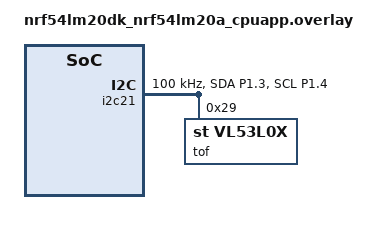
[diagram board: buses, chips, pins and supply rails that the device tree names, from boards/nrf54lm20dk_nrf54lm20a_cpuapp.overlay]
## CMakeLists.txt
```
cmake_minimum_required(VERSION 3.20.0)

find_package(Zephyr REQUIRED HINTS $ENV{ZEPHYR_BASE})
project(imu_read)

target_sources(app PRIVATE src/main.c src/imu.c src/policy.c src/tof.c src/attitude.c)
```

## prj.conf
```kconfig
CONFIG_I2C=y

# Use the M33's hardware FPU. 
# Hardware FP drops the policy inferences to ~tens of us.
CONFIG_FPU=y

# printf() with %f needs floating-point formatting pulled into the C library.
# Without this, %f prints nothing/garbage on picolibc.
CONFIG_CBPRINTF_FP_SUPPORT=y

CONFIG_SENSOR=y
CONFIG_VL53L0X=y
```

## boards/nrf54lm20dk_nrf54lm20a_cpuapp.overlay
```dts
/* Same bus as i2c_scan: i2c21 on P1.03 (SDA) / P1.04 (SCL), 100 kHz.
 * See firmware/bringup/i2c_scan for the line-by-line devicetree walkthrough.
 */

&pinctrl {
	i2c21_default: i2c21_default {
		group1 {
			psels = <NRF_PSEL(TWIM_SDA, 1, 3)>,
				<NRF_PSEL(TWIM_SCL, 1, 4)>;
			bias-pull-up;
		};
	};

	i2c21_sleep: i2c21_sleep {
		group1 {
			psels = <NRF_PSEL(TWIM_SDA, 1, 3)>,
				<NRF_PSEL(TWIM_SCL, 1, 4)>;
			low-power-enable;
		};
	};
};

&i2c21 {
	status = "okay";
	clock-frequency = <I2C_BITRATE_STANDARD>;
	pinctrl-0 = <&i2c21_default>;
	pinctrl-1 = <&i2c21_sleep>;
	pinctrl-names = "default", "sleep";

	tof: vl53l0x@29 {
		compatible = "st,vl53l0x";
		reg = <0x29>;
		/* xshut-gpios = <&gpio1 10 GPIO_ACTIVE_LOW>;  // only if XSHUT wired */
	};
};
```

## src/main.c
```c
#include <zephyr/kernel.h>
#include <zephyr/device.h>
#include <stdio.h>
#include <math.h>

#include "policy.h"
#include "imu.h"
#include "tof.h"
#include "attitude.h"

#define I2C_NODE DT_NODELABEL(i2c21)

// Fixed control-loop rate. 200Hz -> 5ms period
// Matching the sensor's SMPLRT_DIV=4 output rate set in imu_init.
#define CONTROL_HZ 200
#define CONTROL_PERIOD K_MSEC(1000 / CONTROL_HZ)

// Timing stats window: 400 ticks = 2s at 200Hz.
#define WINDOW_TICKS 400

#define TARGET_HEIGHT_M 0.5f   // sim hover target (env.target_height)
#define DEG2RAD (3.14159265f / 180.0f)

// Assemble the 6-element observation the policy expects, in the SAME units as the
// training sim (env._get_obs):
//   obs[0] height (m)         obs[1] vz (m/s)
//   obs[2] roll (rad)         obs[3] pitch (rad)
//   obs[4] roll_rate (rad/s)  obs[5] pitch_rate (rad/s)
static void build_obs(const struct attitude *att, const struct tof_sample *tof,
		      const float gyro_dps[3], float obs[6])
{

	if (tof_sample_fresh(tof)) {
		obs[0] = tof->height;
		obs[1] = tof->vz;
	} else {
		obs[0] = TARGET_HEIGHT_M;
		obs[1] = 0.0f;
	}

	obs[2] = att->roll;
	obs[3] = att->pitch;

	// Caliberated gyro rates
	obs[4] = gyro_dps[0] * DEG2RAD;
	obs[5] = gyro_dps[1] * DEG2RAD;
}


// Periodic pacing timer for the control loop. No expiry/stop callbacks —
// loop just waits on its ticks via k_timer_status_sync().
K_TIMER_DEFINE(loop_timer, NULL, NULL);

int main(void)
{
	const struct device *const i2c = DEVICE_DT_GET(I2C_NODE);

	printf("\n=== imu_read: MPU-6050 on %s ===\n", i2c->name);

	if (!device_is_ready(i2c)) {
		printf("ERROR: %s not ready\n", i2c->name);
		return -ENODEV;
	}

	if (imu_init(i2c) != 0) {
		printf("ERROR: sensor init failed\n");
		return -EIO;
	}

	// Verify the flashed policy reproduces its reference before the loop uses it.
	float selfcheck_error;
	if (policy_self_check(1e-3f, &selfcheck_error) == 0) {
		printf("policy self-check PASS (max err %.2e)\n", (double)selfcheck_error);
	} else {
		printf("policy self-check FAIL (err %.2e): output != reference; "
		       "policy_weights.h corrupt or build broken\n", (double)selfcheck_error);
	}

	printf("T+/T- = ToF on/off, rd min/mean/max, o=overruns | H = height, V = vz filt/raw, a = age\n");

	// Measure sensor bias before flying. Board must sit still and level.
	printf("calibrating -- hold still & level...\n");
	imu_calibrate(i2c);

	// Start the pacing timer: first tick one period from now, then every period.
	k_timer_start(&loop_timer, CONTROL_PERIOD, CONTROL_PERIOD);

	uint32_t tick = 0;

	// Starts true so the first stale sample prints a warning
	bool tof_was_ok = true;

	// Timing stats window state.
	uint32_t win_rd_min = UINT32_MAX, win_rd_max = 0, win_rd_sum = 0;
	uint32_t win_inf_min = UINT32_MAX, win_inf_max = 0, win_inf_sum = 0;
	uint32_t win_ticks = 0;
	uint32_t overrun_total = 0;
	bool win_tof_on = true;

	while (1) {
		//buffer for accelometer, gyroscope and temperature datas
		struct imu_sample imu;

		uint32_t start = k_cycle_get_32();
		int rc = imu_read(i2c, &imu);
		uint32_t end = k_cycle_get_32();

		//Get the read duration for later engineering choices. (total time = 5ms)
		uint32_t read_time = k_cyc_to_us_floor32(end - start);

		// Snapshot the latest ToF sample (wont block main loop)
		struct tof_sample tof;
		tof_get_latest(&tof);

		// Run the complementary filter every tick
		struct attitude att;
		attitude_update(imu.accel_g, imu.gyro_dps, 1.0f / CONTROL_HZ, &att);

		// edge detection for when tof sample is STALE or RECOVERED
		// print the message only when the state changes 
		bool tof_ok = tof_sample_fresh(&tof);
		tof_was_ok = tof_ok;   // transition print silenced while testing filters

		// assemble the obs, run the policy, time the inference.
		float obs[6], action[4];
		build_obs(&att, &tof, imu.gyro_dps, obs);

		uint32_t infer_start = k_cycle_get_32();
		policy_forward(obs, action);
		uint32_t infer_time = k_cyc_to_us_floor32(k_cycle_get_32() - infer_start);

		// Timing stats accumulated on EVERY tick
		if (read_time < win_rd_min) win_rd_min = read_time;
		if (read_time > win_rd_max) win_rd_max = read_time;
		win_rd_sum += read_time;
		if (infer_time < win_inf_min) win_inf_min = infer_time;
		if (infer_time > win_inf_max) win_inf_max = infer_time;
		win_inf_sum += infer_time;
		win_ticks++;

		// Every WINDOW_TICKS: report, then flip the ToF on/off. 
		if (win_ticks >= WINDOW_TICKS) {
			// Short on purpose: a long line blocks past the 5ms tick and would
			// cause the very overruns this is counting.
			printf("T%c %u/%u/%u o%u\n",
			       win_tof_on ? '+' : '-',
			       win_rd_min, win_rd_sum / win_ticks, win_rd_max,
			       overrun_total);

			// A/B toggle off: ToF stays on so age reflects its real update rate.

			win_rd_min = UINT32_MAX; win_rd_max = 0; win_rd_sum = 0;
			win_inf_min = UINT32_MAX; win_inf_max = 0; win_inf_sum = 0;
			win_ticks = 0;
		}

		//print some debug info every 100 ticks (0.5s) alternating between attitude and ToF
		if (tick % 100 == 0) {
			if (rc != 0) {
				printf("t=%u read failed\n", tick);
			} else {
				printf("H %.3f V %+.2f/%+.2f a%d\n",
				       (double)tof.height,
				       (double)tof.vz, (double)tof.vz_raw,
				       (int)(k_uptime_get() - tof.timestamp));
			}
		}

		tick++;

		// Block until the next timer tick

		//total elapsed ticks in this thread (should be only 1)
		uint32_t elapsed = k_timer_status_sync(&loop_timer);

		// if more than 1 tick has passed it means the work is too long for 5ms
		if (elapsed > 1) {
			uint32_t missed = elapsed - 1;
			overrun_total += missed;
			printf("OVERRUN at t=%u: missed %u tick(s)\n", tick, missed);
		}
	}

	return 0;
}
```

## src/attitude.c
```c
#include <math.h>
#include <stdbool.h>

#include "attitude.h"

#define DEG2RAD (3.14159265f / 180.0f)

#define ATTITUDE_ALPHA 0.98f

static float roll_state;
static float pitch_state;
static bool initialized;

void attitude_update(const float accel_g[3], const float gyro_dps[3],
		     float dt, struct attitude *out)
{
	float ax = accel_g[0];
	float ay = accel_g[1];
	float az = accel_g[2];

	// accel branch, calculate roll/pitch from the gravity vector.
	float roll_accel = atan2f(ay, az);
	float pitch_accel = atan2f(-ax, sqrtf(ay * ay + az * az));

	if (!initialized) {
		roll_state = roll_accel;
		pitch_state = pitch_accel;
		initialized = true;
	} else {
		// Gyro branch, integrate the angular rate over timeto get the angle.
		float roll_gyro = gyro_dps[0] * DEG2RAD;
		float pitch_gyro = gyro_dps[1] * DEG2RAD;

		float alpha = ATTITUDE_ALPHA;

		roll_state = alpha * (roll_state + roll_gyro * dt) + (1.0f - alpha) * roll_accel;
		pitch_state = alpha * (pitch_state + pitch_gyro * dt) + (1.0f - alpha) * pitch_accel;
	}

	out->roll = roll_state;
	out->pitch = pitch_state;
	out->roll_accel = roll_accel;
	out->pitch_accel = pitch_accel;
}
```

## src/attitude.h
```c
// Complementary filter for roll/pitch.

#ifndef ATTITUDE_H
#define ATTITUDE_H

struct attitude {
	//filtered, rad
	float roll;       
	float pitch;        
	//raw accel branch, rad
	float roll_accel;  
	float pitch_accel;  
};

// Update the attitude estimate from the latest accel/gyro sample. 
void attitude_update(const float accel_g[3], const float gyro_dps[3],
		     float dt, struct attitude *out);

#endif  // ATTITUDE_H
```

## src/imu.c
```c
#include <zephyr/kernel.h>
#include <zephyr/device.h>
#include <zephyr/drivers/i2c.h>
#include <stdio.h>

#include "imu.h"

#define MPU6050_ADDR 0x68

// register map
#define REG_SMPLRT_DIV 0x19   // sample rate = base_rate / (1 + SMPLRT_DIV)
#define REG_CONFIG 0x1A   // bits2:0 DLPF_CFG (digital low-pass filter)
#define REG_PWR_MGMT_1 0x6B   // bit6 SLEEP; bits2:0 CLKSEL (clock source)
#define REG_GYRO_CONFIG 0x1B   // bits4:3 select gyro full-scale range
#define REG_ACCEL_CONFIG 0x1C   // bits4:3 select accel full-scale range
#define REG_ACCEL_XOUT_H 0x3B   // first of 14 big-endian bytes:
                               // AX AY AZ TEMP GX GY GZ (2 bytes each)

//Full-scale select values
#define GYRO_FS_250DPS  (0 << 3)   // +/-250 deg/s
#define ACCEL_FS_2G     (0 << 3)   // +/-2 g

/* Scale factors for the ranges above (LSB per unit), from the datasheet:
     accel +/-2 g -> 16384 LSB/g
     gyro +/-250 -> 131.0 LSB/(deg/s)
   Temperature: degC = raw/340 + 36.53 */
#define ACCEL_LSB_PER_G 16384.0f
#define GYRO_LSB_PER_DPS 131.0f

// Per-sensor bias, measured at boot by calibrate(). Zero until then, so the
// calibration reads see raw values. gyro_bias in dps, accel_offset in g.
static float gyro_bias[3] = {0.0f, 0.0f, 0.0f};
static float accel_offset[3] = {0.0f, 0.0f, 0.0f};

// I/O helpers (return 0 on success)
static int reg_write(const struct device *dev, uint8_t reg, uint8_t val)
{
	return i2c_reg_write_byte(dev, MPU6050_ADDR, reg, val);
}

static int burst_read(const struct device *dev, uint8_t start,
		      uint8_t *buf, uint32_t len)
{
	return i2c_burst_read(dev, MPU6050_ADDR, start, buf, len);
}

/* Combine a big-endian (high byte first) register pair into a signed 16-bit
   value. The MPU-6050 outputs are two's-complement, MSB at the lower address. */
static int16_t be16(const uint8_t *p)
{
	return (int16_t)((p[0] << 8) | p[1]);
}

//Configure the sensor. Return 0 if every write succeeded.
int imu_init(const struct device *dev)
{
	//Wake up MPU6050 and clock it from the gyro-X PLL (CLKSEL=1), a more
	//stable timebase than the internal 8MHz oscillator (CLKSEL=0)
	int ret = reg_write(dev, REG_PWR_MGMT_1, 0x01);
	if (ret) {
		return ret;   //return non 0 on fail writes
	}

	//DLPF_CFG=3: ~44Hz low-pass anti-aliasing filter. Also drops the gyro
	//base output rate to 1kHz, which SMPLRT_DIV below divides down
	ret = reg_write(dev, REG_CONFIG, 0x03);
	if (ret) {
		return ret;
	}

	//Sample rate = 1kHz / (1 + 4) = 200Hz. Depends on DLPF being enabled above
	ret = reg_write(dev, REG_SMPLRT_DIV, 0x04);
	if (ret) {
		return ret;
	}

	//Set gyro mearsure range (FS_SEL = 00, therefore low gain)
	ret = reg_write(dev, REG_GYRO_CONFIG, GYRO_FS_250DPS);
	if (ret) {
		return ret;
	}

	//Set accelometer range as above
	ret = reg_write(dev, REG_ACCEL_CONFIG, ACCEL_FS_2G);

	//Return 0 if all ret has value 0 (succeeded writes)
	return ret;
}

//read one sample set and convert to physical units.
//write results through the out-pointer, return 0 on success.
int imu_read(const struct device *dev, struct imu_sample *out)
{
	uint8_t raw[14];
	//reading reg contents into a raw array
	int ret = burst_read(dev,REG_ACCEL_XOUT_H,raw,sizeof(raw));
	if (ret) {
		return ret;
	}

	//combine higher and lower bits into 16 bits values
	int16_t ax=be16(&raw[0]);
	int16_t ay=be16(&raw[2]);
	int16_t az=be16(&raw[4]);

	int16_t temp=be16(&raw[6]);

	int16_t gyroX=be16(&raw[8]);
	int16_t gyroY=be16(&raw[10]);
	int16_t gyroZ=be16(&raw[12]);

	// Scale to physical units, then subtract the per-sensor bias measured at boot.
	out->accel_g[0] = ax/ACCEL_LSB_PER_G - accel_offset[0];
	out->accel_g[1] = ay/ACCEL_LSB_PER_G - accel_offset[1];
	out->accel_g[2] = az/ACCEL_LSB_PER_G - accel_offset[2];

	out->gyro_dps[0] = gyroX/GYRO_LSB_PER_DPS - gyro_bias[0];
	out->gyro_dps[1] = gyroY/GYRO_LSB_PER_DPS - gyro_bias[1];
	out->gyro_dps[2] = gyroZ/GYRO_LSB_PER_DPS - gyro_bias[2];

	out->temp_c = temp/ 340.0f + 36.53f;

	return 0;
}

// Measure per-sensor bias by averaging N samples while the board is held STILL
// and LEVEL to subtract from future mearsurement
void imu_calibrate(const struct device *dev)
{
	const int samples = 200;   // ~1s at 200Hz
	float accel_sum[3] = {0.0f, 0.0f, 0.0f};
	float gyro_sum[3] = {0.0f, 0.0f, 0.0f};
	int valid = 0;

	for (int n = 0; n < samples; n++) {
		struct imu_sample s;
		if (imu_read(dev, &s) == 0) {   // biases are still 0 -> raw
			for (int i = 0; i < 3; i++) {
				accel_sum[i] += s.accel_g[i];
				gyro_sum[i] += s.gyro_dps[i];
			}
			valid++;
		}
		k_sleep(K_MSEC(5));
	}

	if (valid == 0) {
		printf("calibrate: no valid samples, biases left at 0\n");
		return;
	}

	for (int i = 0; i < 3; i++) {
		gyro_bias[i] = gyro_sum[i] / valid;
		accel_offset[i] = accel_sum[i] / valid;
	}
	accel_offset[2] -= 1.0f;   // level rest reads +1g on Z; the excess is the offset

	printf("calibrated: gyro_bias=[% .2f % .2f % .2f]dps  "
	       "accel_offset=[% .3f % .3f % .3f]g\n",
	       (double)gyro_bias[0], (double)gyro_bias[1], (double)gyro_bias[2],
	       (double)accel_offset[0], (double)accel_offset[1], (double)accel_offset[2]);
}
```

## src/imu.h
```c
#ifndef IMU_H
#define IMU_H

#include <zephyr/device.h>

// One sample set, scaled to physical units with the boot bias subtracted.
struct imu_sample {
	float accel_g[3];    // accel X/Y/Z in g
	float gyro_dps[3];   // gyro X/Y/Z in deg/s
	float temp_c;        // die temperature in degC
};

// Configure the sensor. Return 0 if every write succeeded.
int imu_init(const struct device *dev);

// Read one sample set and convert to physical units.
// Write results through the out-pointer, return 0 on success.
int imu_read(const struct device *dev, struct imu_sample *out);

// Measure per-sensor bias by averaging N samples while the board is held STILL
// and LEVEL to subtract from future mearsurement. Blocks ~1s.
void imu_calibrate(const struct device *dev);

#endif // IMU_H
```

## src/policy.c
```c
#include "policy.h"
#include "policy_weights.h"
#include <math.h>
#include <stddef.h>

static inline float clampf(float value, float lo, float hi)
{
	if (value < lo) {
		return lo;
	}
	if (value > hi) {
		return hi;
	}
	return value;
}

// One dense layer with tanh activation. Each of the num_neurons neurons takes a
// weighted sum of all num_inputs inputs (plus its own bias), then squashes it:
static void dense_tanh(const float *weights, const float *biases,
		       const float *input, float *output,
		       int num_neurons, int num_inputs)
{
	for (int neuron = 0; neuron < num_neurons; neuron++) {
		float sum = biases[neuron];
		
		const float *neuron_weights = weights + (size_t)neuron * num_inputs;
		for (int input_idx = 0; input_idx < num_inputs; input_idx++) {
			sum += neuron_weights[input_idx] * input[input_idx];
		}
		output[neuron] = tanhf(sum);
	}
}

void policy_forward(const float obs[6], float action[4])
{
	float hidden1[POLICY_H1];
	float hidden2[POLICY_H2];

	// Two tanh hidden layers: obs -> hidden1 -> hidden2.
	dense_tanh(&POLICY_W0[0][0], POLICY_B0, obs, hidden1, POLICY_H1, POLICY_OBS_DIM);
	dense_tanh(&POLICY_W2[0][0], POLICY_B2, hidden1, hidden2, POLICY_H2, POLICY_H1);

	// Output layer: same weighted sum, but clamp to the [0,1] motor range
	// instead of tanh (each output is one motor command).
	for (int motor = 0; motor < POLICY_ACT_DIM; motor++) {
		float sum = POLICY_BA[motor];
		const float *motor_weights = &POLICY_WA[motor][0];
		for (int input_idx = 0; input_idx < POLICY_H2; input_idx++) {
			sum += motor_weights[input_idx] * hidden2[input_idx];
		}
		action[motor] = clampf(sum, 0.0f, 1.0f);
	}
}

int policy_self_check(float tolerance, float *max_error)
{
	float computed_action[POLICY_ACT_DIM];
	policy_forward(POLICY_REF_OBS, computed_action);

	// Largest absolute error across the 4 outputs vs the compiled-in reference.
	float worst_error = 0.0f;
	for (int i = 0; i < POLICY_ACT_DIM; i++) {
		float abs_error = fabsf(computed_action[i] - POLICY_REF_ACTION[i]);
		if (abs_error > worst_error) {
			worst_error = abs_error;
		}
	}

	if (max_error != NULL) {
		*max_error = worst_error;
	}
	return (worst_error <= tolerance) ? 0 : -1;
}
```

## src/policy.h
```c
// On-CPU inference for the PPO MLP policy (6 -> 64 -> 64 -> 4, tanh, clamp[0,1]).
// Weights live in policy_weights.h, generated by training/export_weights.py.
#ifndef POLICY_H
#define POLICY_H

// Run one forward pass: obs[6] -> action[4]. Outputs are clamped to [0,1],
void policy_forward(const float obs[6], float action[4]);

// Check policy_forward against the reference (obs, action) in policy_weights.h.
// Returns 0 if all outputs are within tolerance, else -1; writes max abs error
// to *max_error if non-NULL.
int policy_self_check(float tolerance, float *max_error);

#endif  // POLICY_H
```

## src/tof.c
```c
#include <zephyr/kernel.h>
#include <zephyr/device.h>
#include <zephyr/drivers/sensor.h>
#include <zephyr/drivers/sensor/vl53l0x.h>
#include <stdio.h>

#include "tof.h"

#define TOF_NODE DT_NODELABEL(tof)

// The control loop runs in main() at CONFIG_MAIN_THREAD_PRIORITY=0
#define TOF_THREAD_PRIORITY 5
#define TOF_THREAD_STACK_SIZE 2048

#define TOF_ALPHA 0.5f
#define TOF_BETA 0.167f

static struct tof_sample tof_shared;
static K_MUTEX_DEFINE(tof_lock);

// Lets the timing test turn ranging off so IMU read times can be compared with
// and without ToF traffic on the shared bus. Checked at the top of the thread
// loop, never mid-fetch: suspending the thread while it holds the I2C lock
// would deadlock the control loop's MPU reads.
static volatile bool tof_enabled = true;

void tof_set_enabled(bool on)
{
	tof_enabled = on;
}

void tof_get_latest(struct tof_sample *out)
{
	k_mutex_lock(&tof_lock, K_FOREVER);
	*out = tof_shared;
	k_mutex_unlock(&tof_lock);
}

bool tof_sample_fresh(const struct tof_sample *s)
{
	// timestamp 0 => nothing ever published, so age is the whole uptime.
	return s->timestamp != 0 &&
	       (k_uptime_get() - s->timestamp) <= TOF_SAMPLE_MAX_AGE_MS;
}

// This thread SLEEPS between status polls and never busy-waits or hogs the I2C bus
static void tof_thread_fn(void *p1, void *p2, void *p3)
{
	ARG_UNUSED(p1); ARG_UNUSED(p2); ARG_UNUSED(p3);

	const struct device *const tof = DEVICE_DT_GET(TOF_NODE);

	if (!device_is_ready(tof)) {
		printf("ERROR: ToF %s not ready -- height/vz stay at zero\n", tof->name);
		return;
	}

	// Previous raw sample, for the finite difference that produces vz_raw.
	float prev_height = 0.0f;
	int64_t prev_time = 0;
	bool have_prev = false;

	// Alpha-beta filter state (height and vertical velocity estimated jointly).
	float height_est = 0.0f;
	float vz_est = 0.0f;
	bool filter_init = false;

	while (1) {
		// Checked here, between fetches, so we never stop mid-transaction.
		if (!tof_enabled) {
			k_sleep(K_MSEC(10));
			continue;
		}

		// One ranging measurement. Blocks ~33ms but yields (k_sleep) internally,
		// so the control loop keeps running throughout.
		int ret = sensor_sample_fetch(tof);
		if (ret) {
			printf("ToF fetch failed (%d)\n", ret);
			k_sleep(K_MSEC(10));
			continue;
		}

		// Fetch the distance and range status from the sensor.
		// The range status is used to determine if the reading is valid.
		struct sensor_value distance, status;

		if (sensor_channel_get(tof, SENSOR_CHAN_DISTANCE, &distance) != 0) {
			k_sleep(K_MSEC(10));
			continue;
		}

		int range_status = -1;
		if (sensor_channel_get(tof, (enum sensor_channel)SENSOR_CHAN_VL53L0X_RANGE_STATUS,
				       &status) == 0) {
			range_status = status.val1;
		}

		// Filter out invalid readings.
		if (range_status != VL53L0X_RANGE_STATUS_RANGE_VALID) {
			k_sleep(K_MSEC(5));
			continue;
		}

		// sensor_value is fixed point: val1 = whole metres, val2 = millionths.
		float measurement = distance.val1 + distance.val2 / 1000000.0f;
		int64_t now = k_uptime_get();

		float dt = 0.0f;
		float vz_raw = 0.0f;
		if (have_prev) {
			dt = (now - prev_time) / 1000.0f;
			if (dt > 0.0f) {
				vz_raw = (measurement - prev_height) / dt;
			}
		}

		// Alpha-beta filter: update the height and vertical velocity estimates.
		if (!filter_init) {
			height_est = measurement;
			vz_est = 0.0f;
			filter_init = true;
		} else if (dt > 0.0f) {
			// 1. Predict the next height based on the previous height and velocity.
			float height_pred = height_est + vz_est * dt;
			// 2. Compute the residual (difference between the actual measurement and the prediction).
			float residual = measurement - height_pred;

			// 3. update the estimates based on the residual and the alpha-beta gains.
			height_est = height_pred + TOF_ALPHA * residual;
			vz_est = vz_est + (TOF_BETA / dt) * residual;
		}

		// Update every field at once
		k_mutex_lock(&tof_lock, K_FOREVER);
		tof_shared.height = height_est;
		tof_shared.vz = vz_est;
		tof_shared.height_raw = measurement;
		tof_shared.vz_raw = vz_raw;
		tof_shared.timestamp = now;
		k_mutex_unlock(&tof_lock);

		prev_height = measurement;
		prev_time = now;
		have_prev = true;

		// yield to the control loop and other threads.
		k_sleep(K_MSEC(5));
	}
}

K_THREAD_DEFINE(tof_thread_id, TOF_THREAD_STACK_SIZE, tof_thread_fn,
		NULL, NULL, NULL, TOF_THREAD_PRIORITY, 0, 0);
```

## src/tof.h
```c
#ifndef TOF_H
#define TOF_H

#include <stdint.h>
#include <stdbool.h>

struct tof_sample {
	float height;      // alpha-beta filtered, metres
	float vz;          // alpha-beta filtered, metres/second
	float height_raw;  // unfiltered measurement, metres
	float vz_raw;      // raw finite difference, m/s
	int64_t timestamp; // k_uptime_get() ms when this sample was taken
};

// A sample older than this is not trustworthy. ~6 missed conversions at the
// sensor's ~30Hz rate.
#define TOF_SAMPLE_MAX_AGE_MS 200

// Copy the most recent sample out.
void tof_get_latest(struct tof_sample *out);

// A dead ToF thread might leave the sample stale, but it will never block the control loop.
// The sample is always valid to read, but it may be stale.
// Return true if the sample is fresh enough to trust, false if it is stale.
bool tof_sample_fresh(const struct tof_sample *s);

// Turn ranging on/off at runtime. Used by the timing test to compare IMU read
// times with and without ToF traffic on the shared I2C bus.
void tof_set_enabled(bool on);

#endif // TOF_H
```
